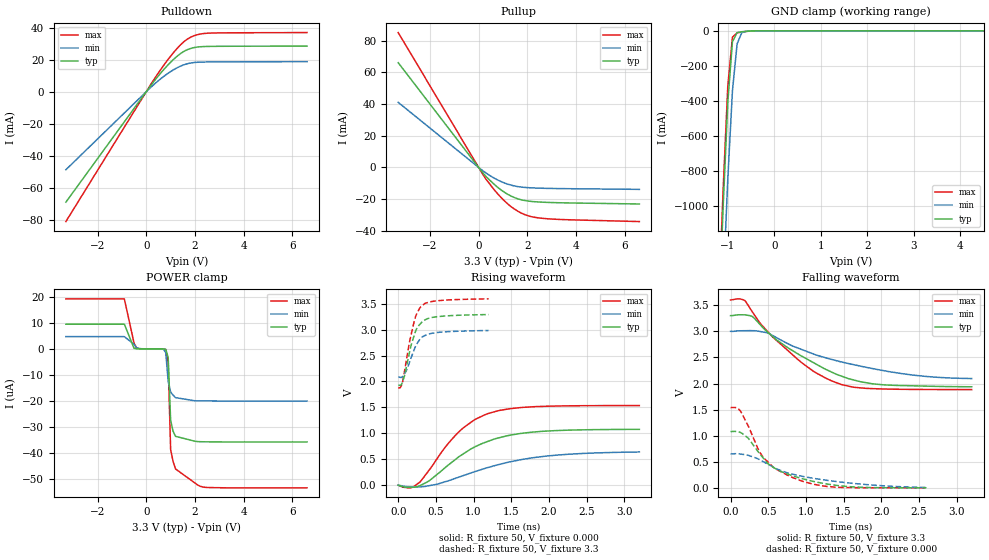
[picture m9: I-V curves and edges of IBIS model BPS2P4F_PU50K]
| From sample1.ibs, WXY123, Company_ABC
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|   Model BPS2P4F_PU50K
[Model]   BPS2P4F_PU50K
Model_type   I/O
Polarity   Non-Inverting
Enable   Active-High
Vinl   = 0.8V
Vinh   = 2.0V
Vmeas   = 1.65V
Cref   = 1.0pF
Vref   = 0V
Rref   = 1Mohms
C_comp   1.414pF NA   NA
[Temperature Range]   25   125   0
[Voltage Range]   3.3V   3.0V   3.6V
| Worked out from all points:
|   slope of the pulldown table from 0 to 0.495 V, typ, clamps not added: 50.4 ohm
|   slope of the pullup table from 0 to 0.495 V, typ, clamps not added: 57.6 ohm
|   GND clamp passes 1 mA (typ) near -0.52 V on its own axis
|   rising waveform, R_fixture 50, V_fixture 0.000: 20-80 % time 699ps typ, 963ps min, 561ps max; typ from 0.001 V to 1.08 V
|   rising waveform, R_fixture 50, V_fixture 3.3: 20-80 % time 148ps typ, 158ps min, 144ps max; typ from 1.93 V to 3.29 V
|   falling waveform, R_fixture 50, V_fixture 3.3: 20-80 % time 896ps typ, 1.23ns min, 765ps max; typ from 3.3 V to 1.94 V
|   falling waveform, R_fixture 50, V_fixture 0.000: 20-80 % time 575ps typ, 914ps min, 452ps max; typ from 1.08 V to 0.002 V
[Pulldown]
| voltage   I(typ)   I(min)   I(max)
-3.3V     -68.87mA   -48.66mA   -80.98mA
400mV     8.038mA    5.623mA    9.519mA
800mV     15.18mA    10.46mA    18.18mA
1.1V      19.84mA    13.49mA    24.03mA
1.4V      23.69mA    15.89mA    29.11mA
1.6V      25.58mA    17.05mA    31.83mA
2V        27.61mA    18.24mA    35.09mA
2.5V      28.21mA    18.53mA    36.45mA
6.6V      28.45mA    18.72mA    36.86mA
[Pullup]
| voltage   I(typ)   I(min)   I(max)
-3.3V     66.02mA    41.01mA    85.03mA
200mV     -3.872mA   -2.376mA   -4.996mA
300mV     -5.674mA   -3.472mA   -7.354mA
800mV     -12.74mA   -8.036mA   -16.92mA
1.3V      -17.81mA   -11.02mA   -24.3mA
1.6V      -19.75mA   -12.06mA   -27.51mA
1.9V      -20.89mA   -12.61mA   -29.78mA
2.5V      -21.82mA   -13.07mA   -31.89mA
3.5V      -22.33mA   -13.37mA   -32.89mA
6.6V      -23.05mA   -13.83mA   -34.13mA
| voltage   I(typ)   I(min)   I(max)
[GND Clamp]
-3.3V     -17.71A    -17.93A    -17.8A
-1.2V     -1.683A    -2.14A     -1.588A
-1.1V     -1.004A    -1.466A    -902.4mA
-1V       -407.9mA   -843.5mA   -315mA
-900mV    -62.01mA   -341.1mA   -35.61mA
-800mV    -10.01mA   -74.36mA   -11.32mA
-700mV    -5.22mA    -10.57mA   -6.768mA
-500mV    -590.3uA   -1.15mA    -849.1uA
6.6V      0A         0A         0A
[POWER Clamp]
|  voltage   I(typ)   I(min)   I(max)
-3.3V     9.534uA    4.747uA    19.3uA
-900mV    9.525uA    4.742uA    19.28uA
-500mV    228.3nA    1.804uA    2.194uA
-400mV    40.89nA    494.7nA    467.2nA
700mV     -918.3pA   -36.53nA   1.23nA
800mV     -128.3nA   -1.425uA   -234.5nA
900mV     -3.244uA   -12.51uA   -5.353uA
1V        -27.42uA   -16.6uA    -38.74uA
1.1V      -31.68uA   -17.78uA   -43.3uA
1.2V      -33.66uA   -18.76uA   -46.23uA
2.4V      -35.77uA   -20.02uA   -53.31uA
6.6V      -35.84uA   -20.09uA   -53.52uA
| variable   typ   min   max
[Ramp]
dV/dt_r  0.645677V/0.69918ns   0.384019V/0.962983ns   0.920883V/0.560902ns
dV/dt_f  0.81744V/0.895976ns   0.54282V/1.23436ns   1.02972V/0.765274ns
R_load   = 50
[Rising Waveform]
R_fixture   = 50
V_fixture   = 0.000
V_fixture_min   = 0.000
V_fixture_max   = 0.000
| time   V(typ)   V(min)   V(max)
0s        871.5uV    574.6uV    1.195mV
160ps     -39.58mV   -29.92mV   -51.25mV
288ps     -9.958mV   -32.29mV   59.54mV
416ps     89.94mV    -8.101mV   301.9mV
768ps     506.8mV    136.7mV    975.6mV
992ps     720.2mV    249.9mV    1.242V
1.184ns   841.7mV    337.5mV    1.378V
1.44ns    951.9mV    435.4mV    1.465V
1.792ns   1.025V     530.3mV    1.513V
3.2ns     1.077V     640.6mV    1.536V
[Rising Waveform]
R_fixture   = 50
V_fixture   = 3.3
V_fixture_min   = 3.0
V_fixture_max   = 3.6
| time   V(typ)   V(min)   V(max)
0s        1.932V     2.084V     1.883V
24ps      1.925V     2.08V      1.875V
48ps      1.957V     2.081V     1.941V
84ps      2.111V     2.148V     2.2V
120ps     2.358V     2.249V     2.513V
168ps     2.68V      2.445V     2.882V
216ps     2.906V     2.628V     3.183V
300ps     3.123V     2.838V     3.442V
504ps     3.247V     2.943V     3.554V
1.2ns     3.291V     2.983V     3.594V
[Falling Waveform]
R_fixture   = 50
V_fixture   = 3.3
V_fixture_min   = 3.0
V_fixture_max   = 3.6
| time   V(typ)   V(min)   V(max)
0s        3.3V       3V         3.6V
192ps     3.316V     3.012V     3.588V
288ps     3.285V     3.012V     3.375V
544ps     2.919V     2.932V     2.913V
928ps     2.537V     2.661V     2.419V
1.12ns    2.384V     2.555V     2.216V
1.472ns   2.142V     2.413V     1.98V
2.048ns   1.973V     2.242V     1.895V
2.592ns   1.95V      2.136V     1.886V
3.2ns     1.938V     2.095V     1.884V
[Falling Waveform]
R_fixture   = 50
V_fixture   = 0.000
V_fixture_min   = 0.000
V_fixture_max   = 0.000
| time   V(typ)   V(min)   V(max)
0s        1.079V     651.8mV    1.537V
78ps      1.082V     656mV      1.537V
130ps     1.062V     649.4mV    1.475V
234ps     954.2mV    625.5mV    1.188V
364ps     697.2mV    557.7mV    751.1mV
442ps     558.4mV    496.1mV    573.1mV
624ps     343.8mV    357mV      345.6mV
832ps     227.9mV    260.5mV    194mV
1.378ns   54.14mV    126.9mV    16.31mV
2.6ns     1.743mV    8.765mV    1.422mV
